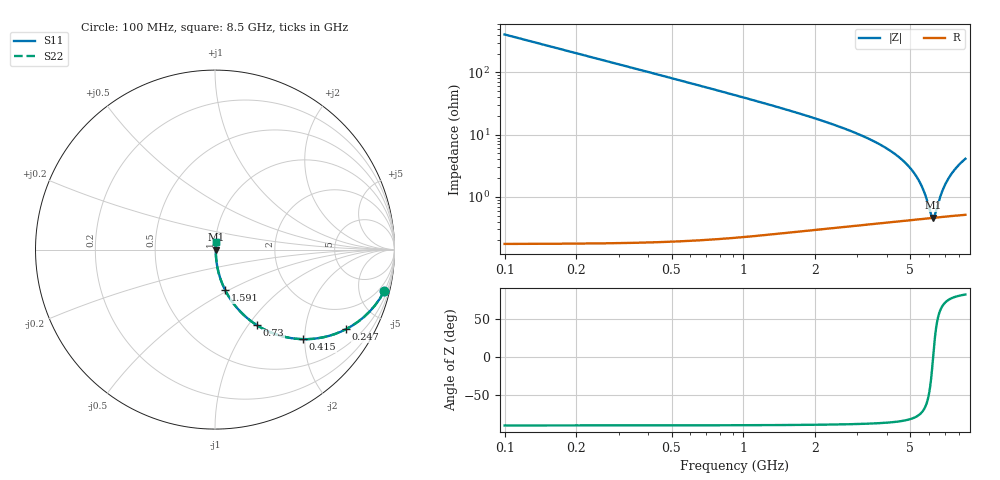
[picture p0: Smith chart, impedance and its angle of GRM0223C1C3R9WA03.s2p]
!Murata Part Number: GRM0223C1C3R9WA03
!These Parameters are Measured in Series Mode Connection
!Data Generated on Mar 30, 2021
!  o--ll--o
!Port1  Port2
!  o------o
!Operation Temp=25[degC], DC Bias Voltage=0[V]
!Freq. Start=100[MHz] Stop=9[GHz] 401[Steps]
# Hz S RI R 50
!Freq.(Hz) S11(Real) S11(Imag) S21(Real) S21(Imag) S12(Real) S12(Imag) S22(Real) S22(Imag)
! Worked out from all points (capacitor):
!   401 points, 100 MHz to 8.5 GHz, reference 50 ohm
!   read as one part in series: C = 3.9 pF near 142 MHz
!   lowest |Z| = 461 mohm at 6.232 GHz (marker M1)
!   series resonance near 6.226 GHz, so ESL is about 170 pH
!   S11 on the Smith chart (normalised r, x): 100 MHz: 1.00, -8.16; 247 MHz: 1.00, -3.30; 415 MHz: 1.00, -1.96; 730 MHz: 1.00, -1.10; 1.591 GHz: 1.01, -0.48; 8.5 GHz: 1.01, +0.08
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1e8  0.9432 -0.2312  0.0568 0.2312  0.0568 0.2312  0.9432 -0.2312
1.84e8  0.8306 -0.3747  0.1694 0.3747  0.1694 0.3747  0.8306 -0.3747
2.47e8  0.731 -0.4429  0.269 0.4429  0.269 0.4429  0.731 -0.4429
3.31e8  0.6015 -0.4888  0.3985 0.4888  0.3985 0.4888  0.6015 -0.4888
4.15e8  0.4892 -0.4989  0.5108 0.4989  0.5108 0.4989  0.4892 -0.4989
5.62e8  0.3416 -0.4729  0.6584 0.4729  0.6584 0.4729  0.3416 -0.4729
7.3e8  0.2335 -0.4212  0.7665 0.4212  0.7665 0.4212  0.2335 -0.4212
1.045e9  0.1269 -0.3298  0.8731 0.3298  0.8731 0.3298  0.1269 -0.3298
1.507e9  0.0628 -0.2374  0.9372 0.2374  0.9372 0.2374  0.0628 -0.2374
1.591e9  0.0562 -0.2248  0.9438 0.2248  0.9438 0.2248  0.0562 -0.2248
2.914e9  0.0149 -0.1065  0.9851 0.1065  0.9851 0.1065  0.0149 -0.1065
4.3e9  0.00635 -0.0486  0.9937 0.0486  0.9937 0.0486  0.00635 -0.0486
5.14e9  0.00487 -0.0247  0.9951 0.0247  0.9951 0.0247  0.00487 -0.0247
5.455e9  0.00465 -0.017  0.9953 0.017  0.9953 0.017  0.00465 -0.017
5.707e9  0.00456 -0.0112  0.9954 0.0112  0.9954 0.0112  0.00456 -0.0112
6.106e9  0.00456 -0.00249  0.9954 0.00249  0.9954 0.00249  0.00456 -0.00249
6.232e9  0.00459 0.000127  0.9954 -0.000127  0.9954 -0.000127  0.00459 0.000127
6.337e9  0.00462 0.00226  0.9954 -0.00226  0.9954 -0.00226  0.00462 0.00226
6.757e9  0.00484 0.0105  0.9952 -0.0105  0.9952 -0.0105  0.00484 0.0105
7.114e9  0.00511 0.0171  0.9949 -0.0171  0.9949 -0.0171  0.00511 0.0171
7.723e9  0.00573 0.0276  0.9943 -0.0276  0.9943 -0.0276  0.00573 0.0276
8.5e9  0.00675 0.0402  0.9932 -0.0402  0.9932 -0.0402  0.00675 0.0402
